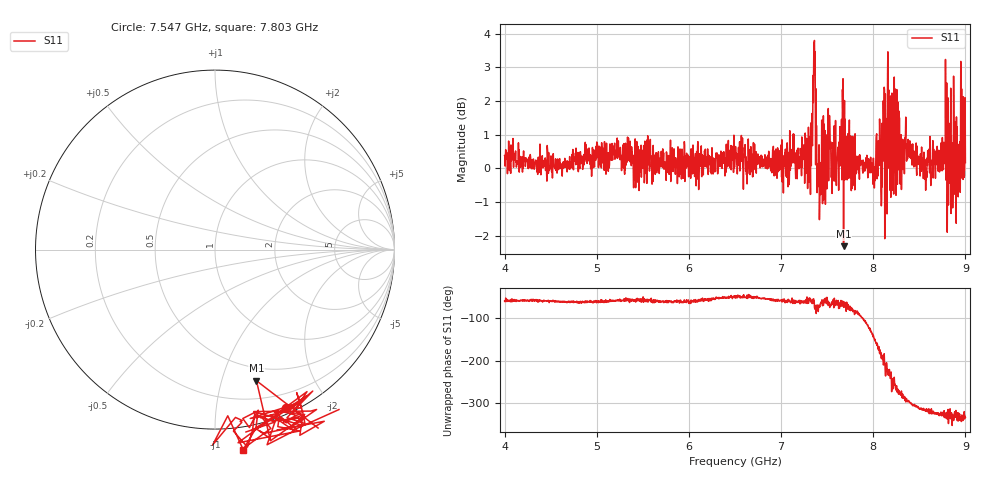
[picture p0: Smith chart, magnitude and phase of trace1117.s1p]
! Created with skrf 1.8.0 (http://scikit-rf.org).
# Hz S RI R 50.0
!freq ReS11 ImS11
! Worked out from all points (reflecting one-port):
!   1601 points, 4 GHz to 9 GHz, reference 50 ohm
!   lowest |S11| = -2.3 dB at 7.678 GHz (marker M1), VSWR 7.55, Z = 18.4 - j64.9 ohm
!   phase of S11 starts at -59 deg and turns -275 deg over the sweep
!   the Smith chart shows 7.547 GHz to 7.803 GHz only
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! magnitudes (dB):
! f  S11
! 4 GHz  0.4
! 4.625 GHz  -0.2
! 5.25 GHz  0.3
! 5.875 GHz  -0.5
! 6.5 GHz  0.3
! 7.125 GHz  0.4
! 7.294 GHz  0.3
! 7.319 GHz  -0.8
! 7.347 GHz  2.8
! 7.359 GHz  3.7
! 7.412 GHz  0.7
! 7.512 GHz  1.8
! 7.562 GHz  0.2
! 7.678 GHz  -2.3
! 7.75 GHz  -0.3
! 8 GHz  0.3
! 8.066 GHz  0.1
! 8.178 GHz  1.8
! 8.197 GHz  0.4
! 8.253 GHz  1.2
! 8.312 GHz  0.5
! 8.375 GHz  0.5
! 8.556 GHz  -0.3
! 8.775 GHz  0.5
! 8.841 GHz  2.4
! 8.922 GHz  -0.8
! 8.972 GHz  0.6
! 9 GHz  0.2
